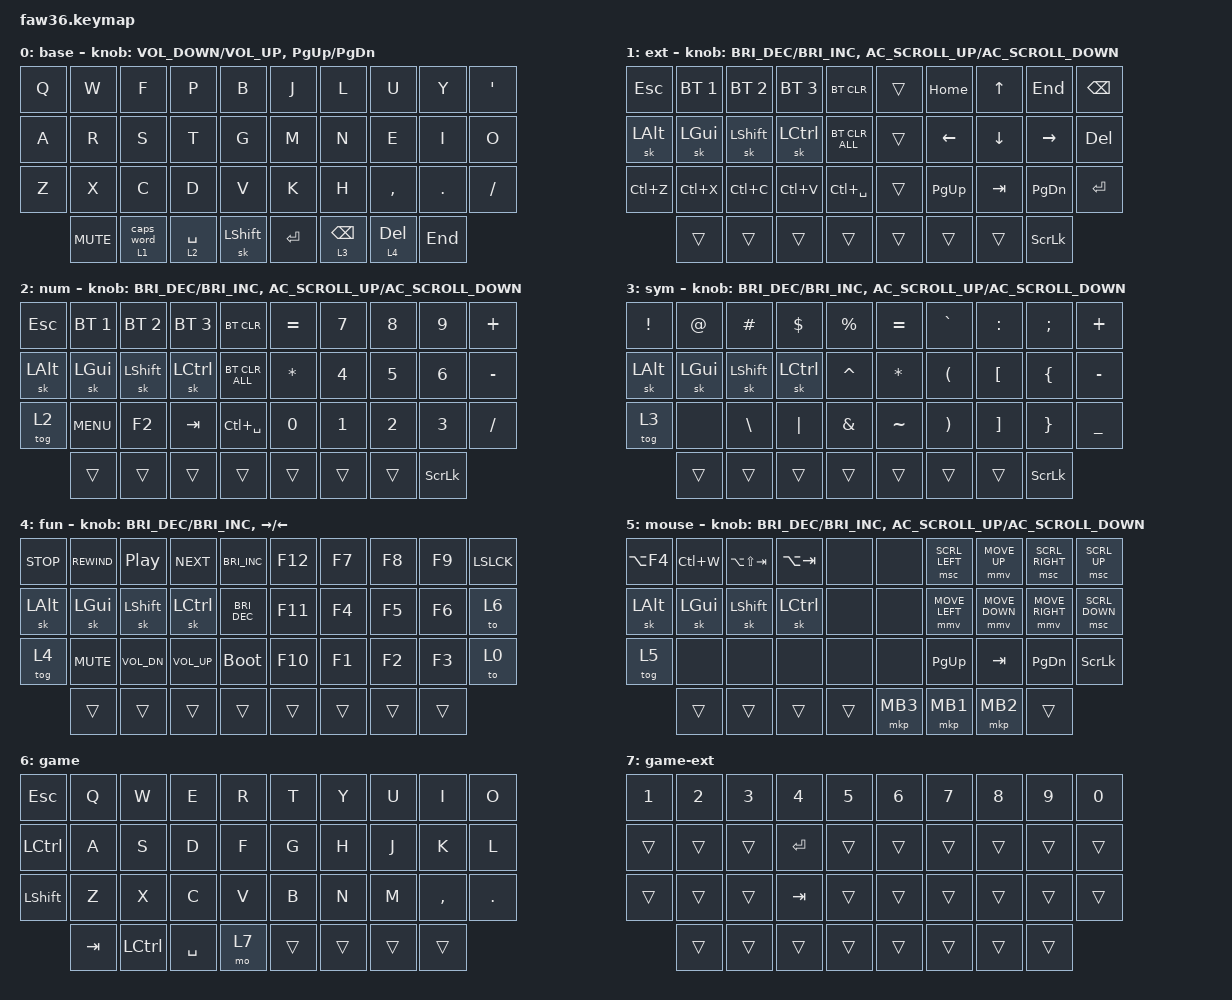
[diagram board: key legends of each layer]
/*
 * Copyright (c) 2020 The ZMK Contributors
 *
 * SPDX-License-Identifier: MIT
 */

#include <behaviors.dtsi>
#include <dt-bindings/zmk/bt.h>
#include <dt-bindings/zmk/keys.h>
#include <dt-bindings/zmk/pointing.h>

#define QWERTY 0
#define NUM 1
#define SYM 2
#define ARROWS 3
#define MEDIA 4
#define NAV 5

/ {
    behaviors {
        caps_ext: caps_word_layer_tap {
            compatible = "zmk,behavior-hold-tap";
            label = "CAPS_WORD_LAYER_TAP";
            bindings = <&mo>, <&caps_word>;

            #binding-cells = <2>;
            tapping-term-ms = <200>;
            quick-tap-ms = <150>;
        };
    };
};

/ {
    combos {
        compatible = "zmk,combos";

        left {
            bindings = <&kp LEFT>;
            key-positions = <17 16>;
        };

        right {
            bindings = <&kp RIGHT>;
            key-positions = <17 18>;
        };

        up {
            bindings = <&kp UP>;
            key-positions = <7 17>;
        };

        down {
            bindings = <&kp DOWN>;
            key-positions = <17 27>;
        };

        pgup {
            bindings = <&kp PG_UP>;
            key-positions = <8 9>;
        };

        pgdn {
            bindings = <&kp PG_DN>;
            key-positions = <18 19>;
        };

        esc {
            bindings = <&kp ESC>;
            key-positions = <0 1>;
        };

        backspace {
            bindings = <&kp BACKSPACE>;
            key-positions = <6 7>;
        };

        del {
            bindings = <&kp DEL>;
            key-positions = <7 8>;
        };

        equal {
            bindings = <&kp EQUAL>;
            key-positions = <28 29>;
        };

        numpad {
            bindings = <&tog 0>;
            key-positions = <16 17 18 19>;
        };

        copy {
            bindings = <&kp LC(C)>;
            key-positions = <22 21>;
        };

        paste {
            bindings = <&kp LC(V)>;
            key-positions = <22 23>;
        };

        cut {
            bindings = <&kp LC(X)>;
            key-positions = <23 21>;
        };
    };

    keymap {
        compatible = "zmk,keymap";

        base {
            bindings = <
&kp Q  &kp W       &kp F          &kp P        &kp B       &kp J      &kp L            &kp U         &kp Y    &kp APOS
&kp A  &kp R       &kp S          &kp T        &kp G       &kp M      &kp N            &kp E         &kp I    &kp O
&kp Z  &kp X       &kp C          &kp D        &kp V       &kp K      &kp H            &kp COMMA     &kp DOT  &kp SLASH
       &kp C_MUTE  &caps_ext 1 0  &lt 2 SPACE  &sk LSHIFT  &kp ENTER  &lt 3 BACKSPACE  &lt 4 DELETE  &kp END
            >;

            label = "base";
            sensor-bindings =
                <&inc_dec_kp C_VOLUME_DOWN C_VOLUME_UP>,
                <&inc_dec_kp PAGE_UP PAGE_DOWN>;
        };

        ext {
            bindings = <
&kp ESC    &bt BT_SEL 1  &bt BT_SEL 2  &bt BT_SEL 3  &bt BT_CLR      &trans  &kp HOME   &kp UP    &kp END         &kp BACKSPACE
&sk LALT   &sk LGUI      &sk LSHIFT    &sk LCTRL     &bt BT_CLR_ALL  &trans  &kp LEFT   &kp DOWN  &kp RIGHT       &kp DEL
&kp LC(Z)  &kp LC(X)     &kp LC(C)     &kp LC(V)     &kp LC(SPACE)   &trans  &kp PG_UP  &kp TAB   &kp PG_DN       &kp ENTER
           &trans        &trans        &trans        &trans          &trans  &trans     &trans    &kp SCROLLLOCK
            >;

            label = "ext";
            sensor-bindings =
                <&inc_dec_kp C_BRIGHTNESS_DEC C_BRIGHTNESS_INC>,
                <&inc_dec_kp C_AC_SCROLL_UP C_AC_SCROLL_DOWN>;
        };

        num {
            label = "num";
            bindings = <
&kp ESC   &bt BT_SEL 1  &bt BT_SEL 2  &bt BT_SEL 3  &bt BT_CLR      &kp EQUAL  &kp N7  &kp N8  &kp N9          &kp PLUS
&sk LALT  &sk LGUI      &sk LSHIFT    &sk LCTRL     &bt BT_CLR_ALL  &kp STAR   &kp N4  &kp N5  &kp N6          &kp MINUS
&tog 2    &kp C_MENU    &kp F2        &kp TAB       &kp LC(SPACE)   &kp N0     &kp N1  &kp N2  &kp N3          &kp SLASH
          &trans        &trans        &trans        &trans          &trans     &trans  &trans  &kp SCROLLLOCK
            >;

            sensor-bindings =
                <&inc_dec_kp C_BRIGHTNESS_DEC C_BRIGHTNESS_INC>,
                <&inc_dec_kp C_AC_SCROLL_UP C_AC_SCROLL_DOWN>;
        };

        sym {
            label = "sym";
            bindings = <
&kp EXCL  &kp AT    &kp POUND   &kp DLLR   &kp PRCNT  &kp EQUAL  &kp GRAVE  &kp COLON  &kp SEMI        &kp PLUS
&sk LALT  &sk LGUI  &sk LSHIFT  &sk LCTRL  &kp CARET  &kp STAR   &kp LPAR   &kp LBKT   &kp LBRC        &kp MINUS
&tog 3    &none     &kp BSLH    &kp PIPE   &kp AMPS   &kp TILDE  &kp RPAR   &kp RBKT   &kp RBRC        &kp UNDER
          &trans    &trans      &trans     &trans     &trans     &trans     &trans     &kp SCROLLLOCK
            >;

            sensor-bindings =
                <&inc_dec_kp C_BRIGHTNESS_DEC C_BRIGHTNESS_INC>,
                <&inc_dec_kp C_AC_SCROLL_UP C_AC_SCROLL_DOWN>;
        };

        fun {
            label = "fun";
            bindings = <
&kp C_STOP  &kp C_REWIND  &kp C_PP      &kp C_NEXT    &kp C_BRIGHTNESS_INC  &kp F12  &kp F7  &kp F8  &kp F9  &kp LSLCK
&sk LALT    &sk LGUI      &sk LSHIFT    &sk LCTRL     &kp C_BRIGHTNESS_DEC  &kp F11  &kp F4  &kp F5  &kp F6  &to 6
&tog 4      &kp C_MUTE    &kp C_VOL_DN  &kp C_VOL_UP  &bootloader           &kp F10  &kp F1  &kp F2  &kp F3  &to 0
            &trans        &trans        &trans        &trans                &trans   &trans  &trans  &trans
            >;

            sensor-bindings =
                <&inc_dec_kp C_BRIGHTNESS_DEC C_BRIGHTNESS_INC>,
                <&inc_dec_kp RIGHT_ARROW LEFT_ARROW>;
        };

        mouse {
            label = "mouse";
            bindings = <
&kp LA(F4)  &kp LC(W)  &kp LA(LS(TAB))  &kp LA(TAB)  &none   &none     &msc SCRL_LEFT  &mmv MOVE_UP    &msc SCRL_RIGHT  &msc SCRL_UP
&sk LALT    &sk LGUI   &sk LSHIFT       &sk LCTRL    &none   &none     &mmv MOVE_LEFT  &mmv MOVE_DOWN  &mmv MOVE_RIGHT  &msc SCRL_DOWN
&tog 5      &none      &none            &none        &none   &none     &kp PG_UP       &kp TAB         &kp PG_DN        &kp SLCK
            &trans     &trans           &trans       &trans  &mkp MB3  &mkp MB1        &mkp MB2        &trans
            >;

            sensor-bindings =
                <&inc_dec_kp C_BRIGHTNESS_DEC C_BRIGHTNESS_INC>,
                <&inc_dec_kp C_AC_SCROLL_UP C_AC_SCROLL_DOWN>;
        };

        game {
            bindings = <
&kp ESC    &kp Q    &kp W      &kp E      &kp R  &kp T   &kp Y   &kp U   &kp I      &kp O
&kp LCTRL  &kp A    &kp S      &kp D      &kp F  &kp G   &kp H   &kp J   &kp K      &kp L
&kp LSHFT  &kp Z    &kp X      &kp C      &kp V  &kp B   &kp N   &kp M   &kp COMMA  &kp DOT
           &kp TAB  &kp LCTRL  &kp SPACE  &mo 7  &trans  &trans  &trans  &trans
            >;

            label = "game";
        };

        game-ext {
            bindings = <
&kp N1  &kp N2  &kp N3  &kp N4     &kp N5  &kp N6  &kp N7  &kp N8  &kp N9  &kp N0
&trans  &trans  &trans  &kp ENTER  &trans  &trans  &trans  &trans  &trans  &trans
&trans  &trans  &trans  &kp TAB    &trans  &trans  &trans  &trans  &trans  &trans
        &trans  &trans  &trans     &trans  &trans  &trans  &trans  &trans
            >;

            label = "game-ext";
        };
    };
};
